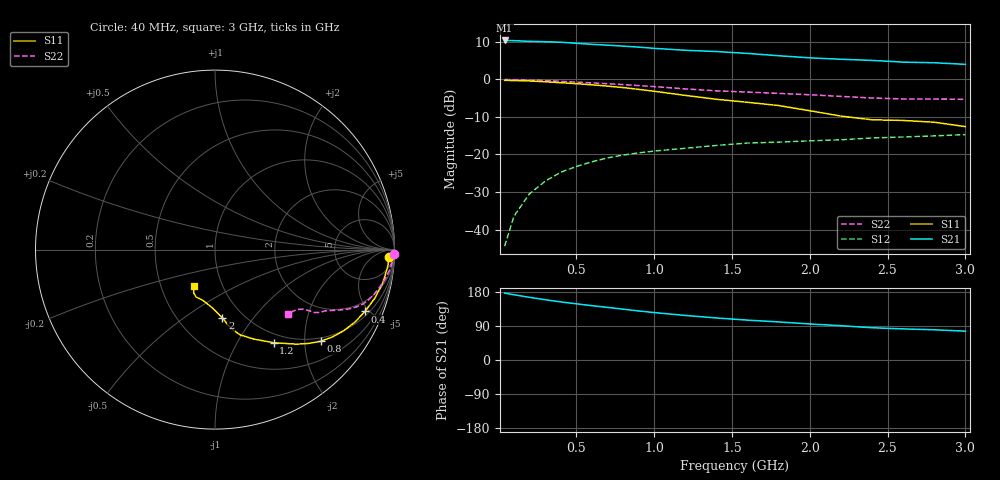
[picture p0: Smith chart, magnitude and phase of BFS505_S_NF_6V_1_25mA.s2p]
! Filename:  BFS505H.S2P  Version:  4.0
! Philips part #: BFS505  Date: Jun 1994
! Bias condition: Vce=6V, Ic=1.25mA
#  MHz  S  MA  R  50
! Freq  S11  S21  S12  S22  !GUM [dB]
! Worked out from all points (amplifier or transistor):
!   21 points, 40 MHz to 3 GHz, reference 50 ohm
!   highest |S21| = 10.4 dB at 40 MHz (marker M1)
!   |S21| within 3 dB of that: start of sweep to 1.42 GHz
!   unconditionally stable (mu >= 1): 1.91 GHz to end of sweep
!   at 300 MHz: K = 0.23, MSG = 18.6 dB, |S12| = -27.1 dB
!   at 1 GHz: K = 0.58, MSG = 13.7 dB, |S12| = -19.1 dB
!   at 3 GHz: K = 1.23, MAG = 6.4 dB, |S12| = -14.7 dB
!   lowest NFmin = 1.00 dB at 500 MHz
!   S11 on the Smith chart (normalised r, x): 40 MHz: 24, -32; 400 MHz: 1.26, -4.73; 800 MHz: 0.91, -2.37; 1.2 GHz: 0.86, -1.44; 2 GHz: 0.80, -0.72; 3 GHz: 0.73, -0.31
40  0.971 -2.3  3.306 176.6  0.006 87.8  0.996 -1.4
100  0.967 -5.6  3.287 172.2  0.015 84.6  0.993 -3.3
200  0.953 -11.3  3.219 165.4  0.03 80.4  0.98 -6.6
300  0.931 -16.9  3.184 159.1  0.044 76.5  0.962 -9.8
400  0.904 -22.4  3.133 153.3  0.058 73.2  0.942 -12.8
500  0.878 -27.4  3.029 148.3  0.069 70.3  0.921 -15.7
600  0.848 -32.2  2.937 143.4  0.08 67.5  0.899 -18.2
700  0.815 -36.7  2.863 138.9  0.09 65.3  0.877 -20.3
800  0.779 -41.0  2.779 134.2  0.098 63.4  0.854 -21.8
900  0.738 -45.1  2.696 129.5  0.105 61.2  0.828 -23.3
1000  0.696 -49.2  2.595 125.2  0.111 59.4  0.803 -24.5
1200  0.613 -57.8  2.447 117.6  0.121 56.0  0.748 -26.9
1400  0.544 -66.5  2.354 111.0  0.132 54.5  0.705 -28.9
1600  0.496 -73.5  2.222 105.2  0.142 53.1  0.678 -31.1
1800  0.449 -78.6  2.068 100.5  0.146 52.9  0.652 -32.5
2000  0.383 -83.8  1.94 95.1  0.152 52.7  0.625 -33.0
2200  0.325 -92.6  1.857 90.5  0.157 52.9  0.594 -34.0
2400  0.29 -103.7  1.793 85.1  0.166 52.9  0.566 -36.1
2600  0.284 -111.9  1.701 82.1  0.171 53.1  0.55 -39.0
2800  0.269 -116.2  1.668 79.7  0.177 55.0  0.547 -40.9
3000  0.235 -120.1  1.588 76.2  0.184 56.3  0.543 -41.6
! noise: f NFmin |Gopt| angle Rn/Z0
500  1  0.739  8  0.82
900  1.2  0.602  12  0.81
2000  1.9  0.544  39  0.6
